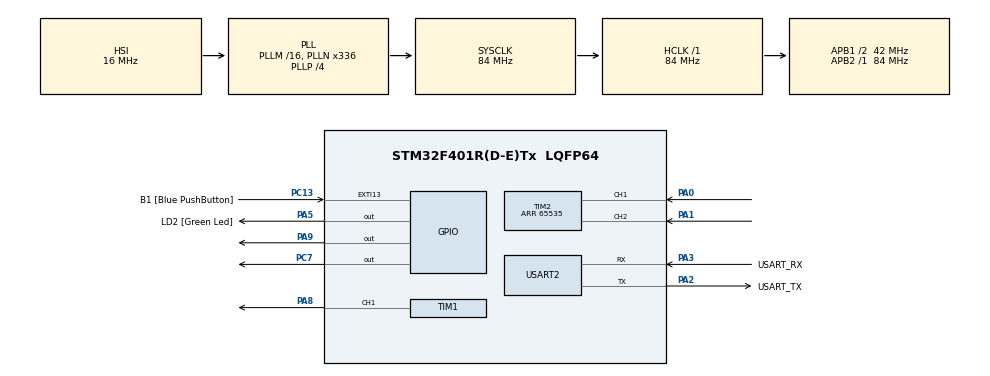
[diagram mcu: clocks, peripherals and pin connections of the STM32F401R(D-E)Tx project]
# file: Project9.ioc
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Mcu.Family=STM32F4
Mcu.Name=STM32F401R(D-E)Tx
Mcu.Package=LQFP64
NVIC.PriorityGroup=NVIC_PRIORITYGROUP_4
PA0-WKUP.Signal=S_TIM2_CH1_ETR
PA1.Signal=S_TIM2_CH2
PA13.GPIO_Label=TMS
PA13.Mode=Trace_Asynchronous_SW
PA13.Signal=SYS_JTMS-SWDIO
PA14.GPIO_Label=TCK
PA14.Mode=Trace_Asynchronous_SW
PA14.Signal=SYS_JTCK-SWCLK
PA2.GPIO_Label=USART_TX
PA2.GPIO_Mode=GPIO_MODE_AF_PP
PA2.GPIO_PuPd=GPIO_NOPULL
PA2.GPIO_Speed=GPIO_SPEED_FREQ_LOW
PA2.Mode=Asynchronous
PA2.Signal=USART2_TX
PA3.GPIO_Label=USART_RX
PA3.GPIO_Mode=GPIO_MODE_AF_PP
PA3.GPIO_PuPd=GPIO_NOPULL
PA3.GPIO_Speed=GPIO_SPEED_FREQ_LOW
PA3.Mode=Asynchronous
PA3.Signal=USART2_RX
PA5.GPIO_Label=LD2 [Green Led]
PA5.GPIO_Mode=GPIO_MODE_OUTPUT_PP
PA5.GPIO_PuPd=GPIO_NOPULL
PA5.GPIO_Speed=GPIO_SPEED_FREQ_LOW
PA5.Signal=GPIO_Output
PA8.Signal=S_TIM1_CH1
PA9.Signal=GPIO_Output
PB3.GPIO_Label=SWO
PB3.Mode=Trace_Asynchronous_SW
PB3.Signal=SYS_JTDO-SWO
PC13-ANTI_TAMP.GPIO_Label=B1 [Blue PushButton]
PC13-ANTI_TAMP.GPIO_ModeDefaultEXTI=GPIO_MODE_IT_FALLING
PC13-ANTI_TAMP.GPIO_PuPd=GPIO_NOPULL
PC13-ANTI_TAMP.Signal=GPXTI13
PC14-OSC32_IN.Mode=LSE-External-Oscillator
PC14-OSC32_IN.Signal=RCC_OSC32_IN
PC15-OSC32_OUT.Mode=LSE-External-Oscillator
PC15-OSC32_OUT.Signal=RCC_OSC32_OUT
PC7.Signal=GPIO_Output
PH0\ -\ OSC_IN.Mode=HSE-External-Clock-Source
PH0\ -\ OSC_IN.Signal=RCC_OSC_IN
PH1\ -\ OSC_OUT.Mode=HSE-External-Clock-Source
PH1\ -\ OSC_OUT.Signal=RCC_OSC_OUT
ProjectManager.HeapSize=0x200
ProjectManager.StackSize=0x400
ProjectManager.TargetToolchain=STM32CubeIDE
RCC.48MHZClocksFreq_Value=48000000
RCC.AHBFreq_Value=84000000
RCC.APB1CLKDivider=RCC_HCLK_DIV2
RCC.APB1Freq_Value=42000000
RCC.APB1TimFreq_Value=84000000
RCC.APB2Freq_Value=84000000
RCC.APB2TimFreq_Value=84000000
RCC.CortexFreq_Value=84000000
RCC.HCLKFreq_Value=84000000
RCC.HSE_VALUE=8000000
RCC.HSI_VALUE=16000000
RCC.PLLN=336
RCC.PLLP=RCC_PLLP_DIV4
RCC.PLLQ=7
RCC.SYSCLKFreq_VALUE=84000000
RCC.SYSCLKSource=RCC_SYSCLKSOURCE_PLLCLK
RCC.VCOOutputFreq_Value=336000000
SH.S_TIM1_CH1.0=TIM1_CH1,PWM Generation1 CH1
SH.S_TIM2_CH1_ETR.0=TIM2_CH1,Encoder_Interface
SH.S_TIM2_CH2.0=TIM2_CH2,Encoder_Interface
TIM1.Channel-PWM\ Generation1\ CH1=TIM_CHANNEL_1
TIM1.Period=4199
TIM2.EncoderMode=TIM_ENCODERMODE_TI12
TIM2.IC1Filter=15
TIM2.Period=65535
USART2.VirtualMode=VM_ASYNC
board=NUCLEO-F401RE

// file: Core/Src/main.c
/* USER CODE BEGIN Header */
/**
  ******************************************************************************
  * @file           : main.c
  * @brief          : Main program body
  ******************************************************************************
  * @attention
  *
  * Copyright (c) 2026 STMicroelectronics.
  * All rights reserved.
  *
  * This software is licensed under terms that can be found in the LICENSE file
  * in the root directory of this software component.
  * If no LICENSE file comes with this software, it is provided AS-IS.
  *
  ******************************************************************************
  */
/* USER CODE END Header */
#include "main.h"

TIM_HandleTypeDef htim1;
TIM_HandleTypeDef htim2;

UART_HandleTypeDef huart2;

/* USER CODE BEGIN PV */
int32_t encoder_count = 0;
int32_t last_encoder_count = 0;
float rpm = 0;
uint32_t last_time = 0;

/* USER CODE END PV */

void SystemClock_Config(void);
static void MX_GPIO_Init(void);
static void MX_TIM1_Init(void);
static void MX_TIM2_Init(void);
static void MX_USART2_UART_Init(void);

int main(void)
{

  /* MCU Configuration--------------------------------------------------------*/

  /* Reset of all peripherals, Initializes the Flash interface and the Systick. */
  HAL_Init();

  /* Configure the system clock */
  SystemClock_Config();

  /* Initialize all configured peripherals */
  MX_GPIO_Init();
  MX_TIM1_Init();
  MX_TIM2_Init();
  MX_USART2_UART_Init();
  /* USER CODE BEGIN 2 */
  // 1. Yönü ayarla (PA9=1, PC7=0 -> İleri)
  HAL_GPIO_WritePin(GPIOA, GPIO_PIN_9, GPIO_PIN_SET);
  HAL_GPIO_WritePin(GPIOC, GPIO_PIN_7, GPIO_PIN_RESET);

  // 2. PWM ve Encoder Birimlerini Başlat
  HAL_TIM_PWM_Start(&htim1, TIM_CHANNEL_1);
  HAL_TIM_Encoder_Start(&htim2, TIM_CHANNEL_ALL);

  // 3. İlk hızı düşük tut (%25 hız)
  __HAL_TIM_SET_COMPARE(&htim1, TIM_CHANNEL_1, 1000);
  /* USER CODE END 2 */

  /* Infinite loop */
  /* USER CODE BEGIN WHILE */
  while (1)
  {
	  if (HAL_GetTick() - last_time >= 100) // Her 100ms'de bir hesapla
	  {
	      encoder_count = (int32_t)TIM2->CNT; // Mevcut sayaç değerini al

	      // 100ms'deki değişim üzerinden RPM hesabı
	      // (PPR_toplam değerini motorunun özelliklerine göre güncelle)
	      float delta_pulse = (float)(encoder_count - last_encoder_count);
	      rpm = (delta_pulse / 440.0f) * 600.0f; // Örnek: PPR=440 (11*4*10 oranlı dişli)

	      last_encoder_count = encoder_count;
	      last_time = HAL_GetTick();
	  }

	  HAL_GPIO_TogglePin(GPIOA, GPIO_PIN_5); // Yeşil LED'i yak/söndür
	  HAL_Delay(500);                        // 500ms bekle
    /* USER CODE END WHILE */

  }
}

void SystemClock_Config(void)
{
  RCC_OscInitTypeDef RCC_OscInitStruct = {0};
  RCC_ClkInitTypeDef RCC_ClkInitStruct = {0};

  /** Configure the main internal regulator output voltage
  */
  __HAL_RCC_PWR_CLK_ENABLE();
  __HAL_PWR_VOLTAGESCALING_CONFIG(PWR_REGULATOR_VOLTAGE_SCALE2);

  /** Initializes the RCC Oscillators according to the specified parameters
  * in the RCC_OscInitTypeDef structure.
  */
  RCC_OscInitStruct.OscillatorType = RCC_OSCILLATORTYPE_HSI;
  RCC_OscInitStruct.HSIState = RCC_HSI_ON;
  RCC_OscInitStruct.HSICalibrationValue = RCC_HSICALIBRATION_DEFAULT;
  RCC_OscInitStruct.PLL.PLLState = RCC_PLL_ON;
  RCC_OscInitStruct.PLL.PLLSource = RCC_PLLSOURCE_HSI;
  RCC_OscInitStruct.PLL.PLLM = 16;
  RCC_OscInitStruct.PLL.PLLN = 336;
  RCC_OscInitStruct.PLL.PLLP = RCC_PLLP_DIV4;
  RCC_OscInitStruct.PLL.PLLQ = 7;
  if (HAL_RCC_OscConfig(&RCC_OscInitStruct) != HAL_OK)
  {
    Error_Handler();
  }

  /** Initializes the CPU, AHB and APB buses clocks
  */
  RCC_ClkInitStruct.ClockType = RCC_CLOCKTYPE_HCLK|RCC_CLOCKTYPE_SYSCLK
                              |RCC_CLOCKTYPE_PCLK1|RCC_CLOCKTYPE_PCLK2;
  RCC_ClkInitStruct.SYSCLKSource = RCC_SYSCLKSOURCE_PLLCLK;
  RCC_ClkInitStruct.AHBCLKDivider = RCC_SYSCLK_DIV1;
  RCC_ClkInitStruct.APB1CLKDivider = RCC_HCLK_DIV2;
  RCC_ClkInitStruct.APB2CLKDivider = RCC_HCLK_DIV1;

  if (HAL_RCC_ClockConfig(&RCC_ClkInitStruct, FLASH_LATENCY_2) != HAL_OK)
  {
    Error_Handler();
  }
}

static void MX_TIM1_Init(void)
{

  TIM_MasterConfigTypeDef sMasterConfig = {0};
  TIM_OC_InitTypeDef sConfigOC = {0};
  TIM_BreakDeadTimeConfigTypeDef sBreakDeadTimeConfig = {0};

  htim1.Instance = TIM1;
  htim1.Init.Prescaler = 0;
  htim1.Init.CounterMode = TIM_COUNTERMODE_UP;
  htim1.Init.Period = 4199;
  htim1.Init.ClockDivision = TIM_CLOCKDIVISION_DIV1;
  htim1.Init.RepetitionCounter = 0;
  htim1.Init.AutoReloadPreload = TIM_AUTORELOAD_PRELOAD_DISABLE;
  if (HAL_TIM_PWM_Init(&htim1) != HAL_OK)
  {
    Error_Handler();
  }
  sMasterConfig.MasterOutputTrigger = TIM_TRGO_RESET;
  sMasterConfig.MasterSlaveMode = TIM_MASTERSLAVEMODE_DISABLE;
  if (HAL_TIMEx_MasterConfigSynchronization(&htim1, &sMasterConfig) != HAL_OK)
  {
    Error_Handler();
  }
  sConfigOC.OCMode = TIM_OCMODE_PWM1;
  sConfigOC.Pulse = 0;
  sConfigOC.OCPolarity = TIM_OCPOLARITY_HIGH;
  sConfigOC.OCNPolarity = TIM_OCNPOLARITY_HIGH;
  sConfigOC.OCFastMode = TIM_OCFAST_DISABLE;
  sConfigOC.OCIdleState = TIM_OCIDLESTATE_RESET;
  sConfigOC.OCNIdleState = TIM_OCNIDLESTATE_RESET;
  if (HAL_TIM_PWM_ConfigChannel(&htim1, &sConfigOC, TIM_CHANNEL_1) != HAL_OK)
  {
    Error_Handler();
  }
  sBreakDeadTimeConfig.OffStateRunMode = TIM_OSSR_DISABLE;
  sBreakDeadTimeConfig.OffStateIDLEMode = TIM_OSSI_DISABLE;
  sBreakDeadTimeConfig.LockLevel = TIM_LOCKLEVEL_OFF;
  sBreakDeadTimeConfig.DeadTime = 0;
  sBreakDeadTimeConfig.BreakState = TIM_BREAK_DISABLE;
  sBreakDeadTimeConfig.BreakPolarity = TIM_BREAKPOLARITY_HIGH;
  sBreakDeadTimeConfig.AutomaticOutput = TIM_AUTOMATICOUTPUT_DISABLE;
  if (HAL_TIMEx_ConfigBreakDeadTime(&htim1, &sBreakDeadTimeConfig) != HAL_OK)
  {
    Error_Handler();
  }
  HAL_TIM_MspPostInit(&htim1);

}

static void MX_TIM2_Init(void)
{

  TIM_Encoder_InitTypeDef sConfig = {0};
  TIM_MasterConfigTypeDef sMasterConfig = {0};

  htim2.Instance = TIM2;
  htim2.Init.Prescaler = 0;
  htim2.Init.CounterMode = TIM_COUNTERMODE_UP;
  htim2.Init.Period = 65535;
  htim2.Init.ClockDivision = TIM_CLOCKDIVISION_DIV1;
  htim2.Init.AutoReloadPreload = TIM_AUTORELOAD_PRELOAD_DISABLE;
  sConfig.EncoderMode = TIM_ENCODERMODE_TI12;
  sConfig.IC1Polarity = TIM_ICPOLARITY_RISING;
  sConfig.IC1Selection = TIM_ICSELECTION_DIRECTTI;
  sConfig.IC1Prescaler = TIM_ICPSC_DIV1;
  sConfig.IC1Filter = 15;
  sConfig.IC2Polarity = TIM_ICPOLARITY_RISING;
  sConfig.IC2Selection = TIM_ICSELECTION_DIRECTTI;
  sConfig.IC2Prescaler = TIM_ICPSC_DIV1;
  sConfig.IC2Filter = 0;
  if (HAL_TIM_Encoder_Init(&htim2, &sConfig) != HAL_OK)
  {
    Error_Handler();
  }
  sMasterConfig.MasterOutputTrigger = TIM_TRGO_RESET;
  sMasterConfig.MasterSlaveMode = TIM_MASTERSLAVEMODE_DISABLE;
  if (HAL_TIMEx_MasterConfigSynchronization(&htim2, &sMasterConfig) != HAL_OK)
  {
    Error_Handler();
  }

}

static void MX_USART2_UART_Init(void)
{

  huart2.Instance = USART2;
  huart2.Init.BaudRate = 115200;
  huart2.Init.WordLength = UART_WORDLENGTH_8B;
  huart2.Init.StopBits = UART_STOPBITS_1;
  huart2.Init.Parity = UART_PARITY_NONE;
  huart2.Init.Mode = UART_MODE_TX_RX;
  huart2.Init.HwFlowCtl = UART_HWCONTROL_NONE;
  huart2.Init.OverSampling = UART_OVERSAMPLING_16;
  if (HAL_UART_Init(&huart2) != HAL_OK)
  {
    Error_Handler();
  }

}

static void MX_GPIO_Init(void)
{
  GPIO_InitTypeDef GPIO_InitStruct = {0};

  /* GPIO Ports Clock Enable */
  __HAL_RCC_GPIOC_CLK_ENABLE();
  __HAL_RCC_GPIOH_CLK_ENABLE();
  __HAL_RCC_GPIOA_CLK_ENABLE();
  __HAL_RCC_GPIOB_CLK_ENABLE();

  /*Configure GPIO pin Output Level */
  HAL_GPIO_WritePin(GPIOA, LD2_Pin|GPIO_PIN_9, GPIO_PIN_RESET);

  /*Configure GPIO pin Output Level */
  HAL_GPIO_WritePin(GPIOC, GPIO_PIN_7, GPIO_PIN_RESET);

  /*Configure GPIO pin : B1_Pin */
  GPIO_InitStruct.Pin = B1_Pin;
  GPIO_InitStruct.Mode = GPIO_MODE_IT_FALLING;
  GPIO_InitStruct.Pull = GPIO_NOPULL;
  HAL_GPIO_Init(B1_GPIO_Port, &GPIO_InitStruct);

  /*Configure GPIO pins : LD2_Pin PA9 */
  GPIO_InitStruct.Pin = LD2_Pin|GPIO_PIN_9;
  GPIO_InitStruct.Mode = GPIO_MODE_OUTPUT_PP;
  GPIO_InitStruct.Pull = GPIO_NOPULL;
  GPIO_InitStruct.Speed = GPIO_SPEED_FREQ_LOW;
  HAL_GPIO_Init(GPIOA, &GPIO_InitStruct);

  /*Configure GPIO pin : PC7 */
  GPIO_InitStruct.Pin = GPIO_PIN_7;
  GPIO_InitStruct.Mode = GPIO_MODE_OUTPUT_PP;
  GPIO_InitStruct.Pull = GPIO_NOPULL;
  GPIO_InitStruct.Speed = GPIO_SPEED_FREQ_LOW;
  HAL_GPIO_Init(GPIOC, &GPIO_InitStruct);

}

void Error_Handler(void)
{
  __disable_irq();
  while (1)
  {
  }
}
